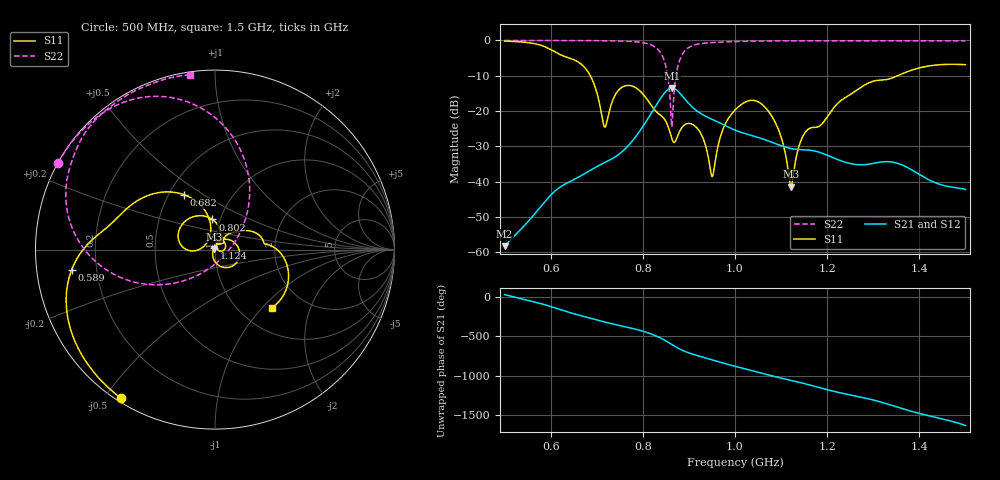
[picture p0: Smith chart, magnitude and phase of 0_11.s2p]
! TOUCHSTONE file generated by CST MICROWAVE STUDIO
! Date and time: Sat Oct 24 11:12:26 2020
! Project name: Scenario_1_Circular_Tissue_in_Line.cst
! Parameters = {L_HA=400; MT=2.54; Rad_Dielectric=30; Rad_Lower=7.3; Rad_Upper=30; a_HA=580; a_WG=246; b_HA=500; b_WG=121; c_HA=0; c_WG=187; d_feed=85; dx1=346.2; h_feed=15; h_lower=18; h_upper=40}
! Header version: 2018
! Port assignment regex: !\s*Touchstone port\s*([0-9]+)\s*=\s*(CST MWS port|CST DS port)\s*([0-9]+|Zmin|Zmax)\s*\(\"(.*)\"\)(\s*mode\s*([0-9]+))?.*
! Touchstone port assignment:
! Touchstone port 1 = CST MWS port 1 ("")
! Touchstone port 2 = CST MWS port 2 ("")
# GHz S DB R 50
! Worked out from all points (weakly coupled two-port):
!   1003 points, 500 MHz to 1.5 GHz, reference 50 ohm
!   highest |S21| = -13.47 dB at 863 MHz (marker M1); lowest = -58.3 dB at 500 MHz (marker M2)
!   lowest |S11| = -41.4 dB at 1.122 GHz (marker M3), VSWR 1.02, Z = 49.3 + j0.394 ohm
!   |S11| at or under -10 dB: 686 MHz to 1.353 GHz (666.9 MHz wide, 65.4 % of centre)
!   |S22| runs from -24.5 to 0.0 dB; largest |S21 - S12| = 5.3e-06
!   S11 on the Smith chart (normalised r, x): 500 MHz: 0.01, -0.55; 589 MHz: 0.11, -0.07; 682 MHz: 0.60, +0.42; 802 MHz: 0.92, +0.32; 1.124 GHz: 0.99, +0.02; 1.5 GHz: 1.40, -1.14
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0.5  -0.18 -122.2  -58.27 33.7  -58.27 33.7  -0.01 151.1
0.589  -1.88 -172.1  -45.39 -99.2  -45.39 -99.2  -0.02 145.0
0.667  -6.80 136.6  -38.24 121.7  -38.24 121.7  -0.04 138.4
0.682  -9.09 119.4  -37.09 98.0  -37.09 98.0  -0.05 136.9
0.717  -24.51 139.8  -34.61 43.1  -34.61 43.1  -0.08 132.8
0.753  -13.41 163.1  -31.72 -5.8  -31.72 -5.8  -0.17 127.2
0.802  -15.45 95.0  -23.98 -77.5  -23.98 -77.5  -0.67 112.9
0.834  -20.72 69.1  -17.28 -148.4  -17.28 -148.4  -2.74 89.4
0.85  -22.95 51.4  -14.44 162.6  -14.44 162.6  -7.42 63.4
0.863  -27.81 47.3  -13.47 115.9  -13.47 115.9  -24.45 -46.5
0.887  -24.31 62.5  -15.96 38.9  -15.96 38.9  -3.65 -173.2
0.923  -25.73 0.1  -20.48 -33.5  -20.48 -33.5  -0.96 158.1
0.951  -38.52 29.5  -22.37 -81.5  -22.37 -81.5  -0.59 149.3
0.973  -25.43 62.5  -23.74 -119.0  -23.74 -119.0  -0.44 145.0
1  -19.71 29.5  -25.40 -161.7  -25.40 -161.7  -0.31 140.8
1.071  -19.79 -69.3  -28.40 89.4  -28.40 89.4  -0.15 132.7
1.122  -41.38 152.0  -30.62 17.5  -30.62 17.5  -0.12 128.1
1.124  -40.32 127.7  -30.67 14.9  -30.67 14.9  -0.12 127.9
1.143  -28.40 62.3  -30.93 -11.2  -30.93 -11.2  -0.11 126.3
1.167  -24.67 38.7  -31.17 -48.1  -31.17 -48.1  -0.11 124.4
1.334  -10.93 6.1  -34.35 71.2  -34.35 71.2  -0.09 111.7
1.5  -6.87 -45.4  -42.20 163.1  -42.21 163.1  -0.14 98.2
